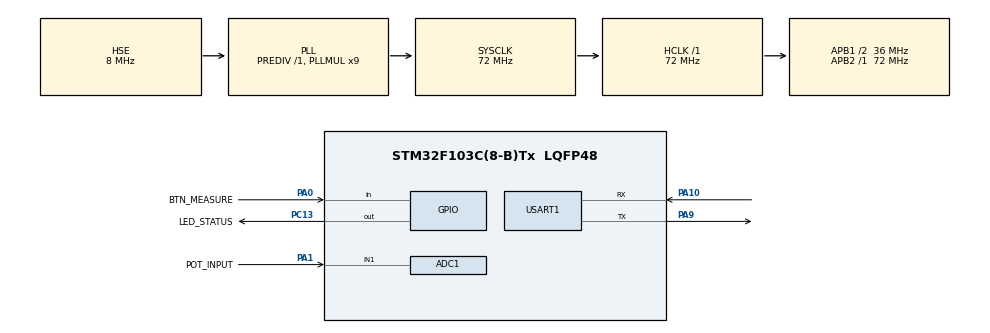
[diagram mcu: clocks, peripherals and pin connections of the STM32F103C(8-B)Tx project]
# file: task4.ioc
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ADC1.Channel-0\#ChannelRegularConversion=ADC_CHANNEL_1
ADC1.NbrOfConversionFlag=1
ADC1.Rank-0\#ChannelRegularConversion=1
ADC1.SamplingTime-0\#ChannelRegularConversion=ADC_SAMPLETIME_1CYCLE_5
ADC1.master=1
Mcu.Family=STM32F1
Mcu.Name=STM32F103C(8-B)Tx
Mcu.Package=LQFP48
NVIC.PriorityGroup=NVIC_PRIORITYGROUP_4
PA0-WKUP.GPIO_Label=BTN_MEASURE
PA0-WKUP.Signal=GPIO_Input
PA1.GPIO_Label=POT_INPUT
PA1.Signal=ADCx_IN1
PA10.Mode=Asynchronous
PA10.Signal=USART1_RX
PA9.Mode=Asynchronous
PA9.Signal=USART1_TX
PC13-TAMPER-RTC.GPIO_Label=LED_STATUS
PC13-TAMPER-RTC.Signal=GPIO_Output
PD0-OSC_IN.Mode=HSE-External-Oscillator
PD0-OSC_IN.Signal=RCC_OSC_IN
PD1-OSC_OUT.Mode=HSE-External-Oscillator
PD1-OSC_OUT.Signal=RCC_OSC_OUT
ProjectManager.HeapSize=0x200
ProjectManager.StackSize=0x400
ProjectManager.TargetToolchain=Makefile
RCC.ADCPresc=RCC_ADCPCLK2_DIV6
RCC.AHBFreq_Value=72000000
RCC.APB1CLKDivider=RCC_HCLK_DIV2
RCC.APB1Freq_Value=36000000
RCC.APB1TimFreq_Value=72000000
RCC.APB2Freq_Value=72000000
RCC.APB2TimFreq_Value=72000000
RCC.HCLKFreq_Value=72000000
RCC.PLLMUL=RCC_PLL_MUL9
RCC.PLLSourceVirtual=RCC_PLLSOURCE_HSE
RCC.SYSCLKFreq_VALUE=72000000
RCC.SYSCLKSource=RCC_SYSCLKSOURCE_PLLCLK
RCC.USBFreq_Value=72000000
SH.ADCx_IN1.0=ADC1_IN1,IN1
USART1.VirtualMode=VM_ASYNC
VP_SYS_VS_ND.Mode=No_Debug
board=custom

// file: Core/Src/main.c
/* USER CODE BEGIN Header */
/**
  ******************************************************************************
  * @file           : main.c
  * @brief          : Main program body
  ******************************************************************************
  * @attention
  *
  * Copyright (c) 2026 STMicroelectronics.
  * All rights reserved.
  *
  * This software is licensed under terms that can be found in the LICENSE file
  * in the root directory of this software component.
  * If no LICENSE file comes with this software, it is provided AS-IS.
  *
  ******************************************************************************
  */
/* USER CODE END Header */
#include "main.h"

ADC_HandleTypeDef hadc1;

UART_HandleTypeDef huart1;

/* USER CODE BEGIN PV */
uint16_t adc_raw = 0;
float voltage = 0.0f;
float battery_perc = 0.0f;
uint32_t measurement_count = 0;
HAL_StatusTypeDef uart_status;
/* USER CODE END PV */

void SystemClock_Config(void);
static void MX_GPIO_Init(void);
static void MX_ADC1_Init(void);
static void MX_USART1_UART_Init(void);

int main(void)
{

  /* MCU Configuration--------------------------------------------------------*/

  /* Reset of all peripherals, Initializes the Flash interface and the Systick. */
  HAL_Init();

  /* Configure the system clock */
  SystemClock_Config();

  /* Initialize all configured peripherals */
  MX_GPIO_Init();
  MX_ADC1_Init();
  MX_USART1_UART_Init();
  /* USER CODE BEGIN 2 */
  for(int i = 0; i < 3; i++) {
    HAL_GPIO_WritePin(GPIOC, GPIO_PIN_13, GPIO_PIN_RESET);
    HAL_Delay(500);
    HAL_GPIO_WritePin(GPIOC, GPIO_PIN_13, GPIO_PIN_SET);
    HAL_Delay(500);
}
  /* USER CODE END 2 */

  /* Infinite loop */
  while (1)
  {
    if (HAL_GPIO_ReadPin(BTN_MEASURE_GPIO_Port, BTN_MEASURE_Pin) == GPIO_PIN_SET) {
        HAL_Delay(50);
        if (HAL_GPIO_ReadPin(BTN_MEASURE_GPIO_Port, BTN_MEASURE_Pin) == GPIO_PIN_SET)
        {
            HAL_GPIO_WritePin(LED_STATUS_GPIO_Port, LED_STATUS_Pin, GPIO_PIN_SET);HAL_GPIO_WritePin(LED_STATUS_GPIO_Port, LED_STATUS_Pin, GPIO_PIN_RESET); // Ölçüm bitti, LED'i söndür [cite: 38, 58]
            while (HAL_GPIO_ReadPin(BTN_MEASURE_GPIO_Port, BTN_MEASURE_Pin) == GPIO_PIN_SET);
        }
    /* USER CODE BEGIN 3 */
  }
  HAL_ADC_Start(&hadc1);
  if (HAL_ADC_PollForConversion(&hadc1, 100) == HAL_OK) {
      uint16_t ham_deger = HAL_ADC_GetValue(&hadc1);
      float gerilim = (ham_deger / 4095.0f) * 3.3f;
      float yuzde = (ham_deger / 4095.0f) * 100.0f;
      if (gerilim < 0.0f || gerilim > 3.3f) {
          // Burada UART üzerinden [UYARI] mesajı gönderilecek
      }
  }
  else {
      // ADC Zaman Aşımı Hatası (Timeout)
      // Burada UART üzerinden hata mesajı gönderilecek ve ölçüm atlanacak
  }
    /* USER CODE END 3 */
  }}

void SystemClock_Config(void)
{
  RCC_OscInitTypeDef RCC_OscInitStruct = {0};
  RCC_ClkInitTypeDef RCC_ClkInitStruct = {0};
  RCC_PeriphCLKInitTypeDef PeriphClkInit = {0};

  /** Initializes the RCC Oscillators according to the specified parameters
  * in the RCC_OscInitTypeDef structure.
  */
  RCC_OscInitStruct.OscillatorType = RCC_OSCILLATORTYPE_HSE;
  RCC_OscInitStruct.HSEState = RCC_HSE_ON;
  RCC_OscInitStruct.HSEPredivValue = RCC_HSE_PREDIV_DIV1;
  RCC_OscInitStruct.HSIState = RCC_HSI_ON;
  RCC_OscInitStruct.PLL.PLLState = RCC_PLL_ON;
  RCC_OscInitStruct.PLL.PLLSource = RCC_PLLSOURCE_HSE;
  RCC_OscInitStruct.PLL.PLLMUL = RCC_PLL_MUL9;
  if (HAL_RCC_OscConfig(&RCC_OscInitStruct) != HAL_OK)
  {
    Error_Handler();
  }

  /** Initializes the CPU, AHB and APB buses clocks
  */
  RCC_ClkInitStruct.ClockType = RCC_CLOCKTYPE_HCLK|RCC_CLOCKTYPE_SYSCLK
                              |RCC_CLOCKTYPE_PCLK1|RCC_CLOCKTYPE_PCLK2;
  RCC_ClkInitStruct.SYSCLKSource = RCC_SYSCLKSOURCE_PLLCLK;
  RCC_ClkInitStruct.AHBCLKDivider = RCC_SYSCLK_DIV1;
  RCC_ClkInitStruct.APB1CLKDivider = RCC_HCLK_DIV2;
  RCC_ClkInitStruct.APB2CLKDivider = RCC_HCLK_DIV1;

  if (HAL_RCC_ClockConfig(&RCC_ClkInitStruct, FLASH_LATENCY_2) != HAL_OK)
  {
    Error_Handler();
  }
  PeriphClkInit.PeriphClockSelection = RCC_PERIPHCLK_ADC;
  PeriphClkInit.AdcClockSelection = RCC_ADCPCLK2_DIV6;
  if (HAL_RCCEx_PeriphCLKConfig(&PeriphClkInit) != HAL_OK)
  {
    Error_Handler();
  }
}

static void MX_ADC1_Init(void)
{

  ADC_ChannelConfTypeDef sConfig = {0};

  /** Common config
  */
  hadc1.Instance = ADC1;
  hadc1.Init.ScanConvMode = ADC_SCAN_DISABLE;
  hadc1.Init.ContinuousConvMode = DISABLE;
  hadc1.Init.DiscontinuousConvMode = DISABLE;
  hadc1.Init.ExternalTrigConv = ADC_SOFTWARE_START;
  hadc1.Init.DataAlign = ADC_DATAALIGN_RIGHT;
  hadc1.Init.NbrOfConversion = 1;
  if (HAL_ADC_Init(&hadc1) != HAL_OK)
  {
    Error_Handler();
  }

  /** Configure Regular Channel
  */
  sConfig.Channel = ADC_CHANNEL_1;
  sConfig.Rank = ADC_REGULAR_RANK_1;
  sConfig.SamplingTime = ADC_SAMPLETIME_1CYCLE_5;
  if (HAL_ADC_ConfigChannel(&hadc1, &sConfig) != HAL_OK)
  {
    Error_Handler();
  }

}

static void MX_USART1_UART_Init(void)
{

  huart1.Instance = USART1;
  huart1.Init.BaudRate = 115200;
  huart1.Init.WordLength = UART_WORDLENGTH_8B;
  huart1.Init.StopBits = UART_STOPBITS_1;
  huart1.Init.Parity = UART_PARITY_NONE;
  huart1.Init.Mode = UART_MODE_TX_RX;
  huart1.Init.HwFlowCtl = UART_HWCONTROL_NONE;
  huart1.Init.OverSampling = UART_OVERSAMPLING_16;
  if (HAL_UART_Init(&huart1) != HAL_OK)
  {
    Error_Handler();
  }

}

static void MX_GPIO_Init(void)
{
  GPIO_InitTypeDef GPIO_InitStruct = {0};

  /* GPIO Ports Clock Enable */
  __HAL_RCC_GPIOC_CLK_ENABLE();
  __HAL_RCC_GPIOD_CLK_ENABLE();
  __HAL_RCC_GPIOA_CLK_ENABLE();

  /*Configure GPIO pin Output Level */
  HAL_GPIO_WritePin(LED_STATUS_GPIO_Port, LED_STATUS_Pin, GPIO_PIN_RESET);

  /*Configure GPIO pin : LED_STATUS_Pin */
  GPIO_InitStruct.Pin = LED_STATUS_Pin;
  GPIO_InitStruct.Mode = GPIO_MODE_OUTPUT_PP;
  GPIO_InitStruct.Pull = GPIO_NOPULL;
  GPIO_InitStruct.Speed = GPIO_SPEED_FREQ_LOW;
  HAL_GPIO_Init(LED_STATUS_GPIO_Port, &GPIO_InitStruct);

  /*Configure GPIO pin : BTN_MEASURE_Pin */
  GPIO_InitStruct.Pin = BTN_MEASURE_Pin;
  GPIO_InitStruct.Mode = GPIO_MODE_INPUT;
  GPIO_InitStruct.Pull = GPIO_NOPULL;
  HAL_GPIO_Init(BTN_MEASURE_GPIO_Port, &GPIO_InitStruct);

}

void Error_Handler(void)
{
  __disable_irq();
  while (1)
  {
  }
}
